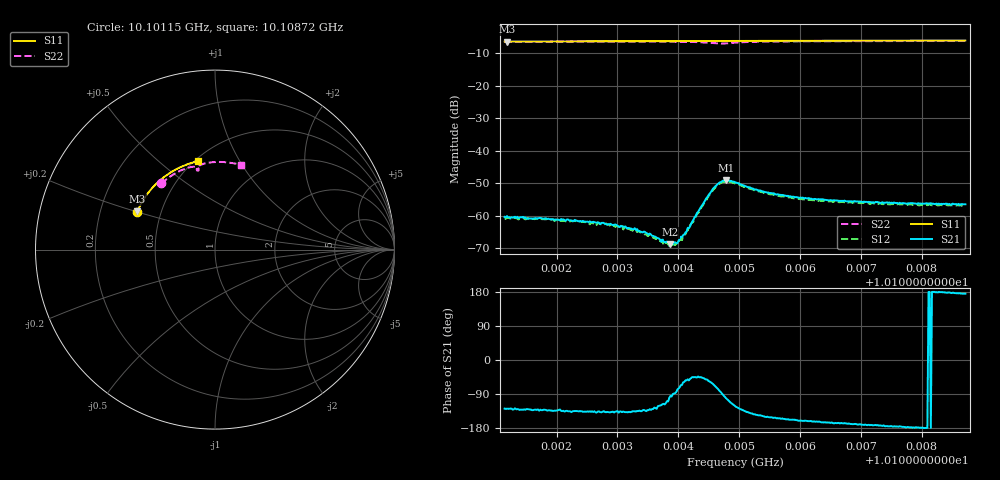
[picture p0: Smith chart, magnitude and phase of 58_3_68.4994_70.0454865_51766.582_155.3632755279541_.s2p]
#  HZ  S  RI  R  50.00
! Rohde & Schwarz Vector Network Analyzer
! Rohde-Schwarz,ZNB20-2Port,1311601062101988,3.16
! Created: UTC 3/20/2024, 5:06:17 PM
! freq[Hz]  re:S11  im:S11  re:S21  im:S21  re:S12  im:S12  re:S22  im:S22
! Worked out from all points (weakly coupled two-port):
!   401 points, 10.10115 GHz to 10.10872 GHz, reference 50 ohm
!   highest |S21| = -49.01 dB at 10.10478 GHz (marker M1); lowest = -68.7 dB at 10.10387 GHz (marker M2)
!   lowest |S11| = -6.3 dB at 10.10118 GHz (marker M3), VSWR 2.86, Z = 18.3 + j10.2 ohm
!   |S11| at or under -10 dB: nowhere
!   |S22| runs from -7.0 to -6.1 dB; largest |S21 - S12| = 0.00037
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1.0101145e10  -0.4334 0.2114  -0.000599 -0.00076  -0.000513 -0.000765  -0.2991 0.3684
1.0101183e10  -0.4323 0.2134  -0.000622 -0.000779  -0.000496 -0.0008  -0.2972 0.3702
1.0101846e10  -0.415 0.2499  -0.000616 -0.000651  -0.00056 -0.000704  -0.2639 0.3972
1.0102414e10  -0.3977 0.2797  -0.000582 -0.000578  -0.000537 -0.000603  -0.2329 0.4177
1.0102811e10  -0.3842 0.2999  -0.000557 -0.000505  -0.000508 -0.000576  -0.2101 0.4307
1.0103095e10  -0.3742 0.3138  -0.000494 -0.000477  -0.000404 -0.00047  -0.1932 0.4393
1.0103379e10  -0.3635 0.3274  -0.000405 -0.000405  -0.000359 -0.000425  -0.1756 0.4472
1.0103493e10  -0.359 0.3326  -0.000357 -0.000395  -0.000298 -0.000394  -0.1684 0.45
1.0103682e10  -0.3516 0.3414  -0.000232 -0.000385  -0.000199 -0.000385  -0.1558 0.4544
1.0103871e10  -0.3437 0.35  -3e-05 -0.000367  -5.97e-05 -0.000363  -0.1424 0.4582
1.0103985e10  -0.339 0.3548  8.14e-05 -0.00037  0.000116 -0.000375  -0.1339 0.4602
1.010408e10  -0.3351 0.359  0.000262 -0.000434  0.000271 -0.000397  -0.1267 0.4613
1.0104155e10  -0.3318 0.3622  0.000416 -0.000513  0.000429 -0.000425  -0.1204 0.4617
1.0104345e10  -0.3236 0.3702  0.000863 -0.000887  0.000886 -0.000753  -0.1043 0.4598
1.0104553e10  -0.3144 0.3788  0.0012 -0.00218  0.00134 -0.00196  -0.0905 0.448
1.0104667e10  -0.3092 0.3833  0.000586 -0.00315  0.000836 -0.00298  -0.0925 0.4401
1.010478e10  -0.3042 0.3877  -0.000629 -0.00349  -0.000296 -0.00336  -0.0994 0.4406
1.0104932e10  -0.2971 0.3935  -0.00172 -0.00282  -0.00141 -0.00283  -0.1013 0.4521
1.0105481e10  -0.2709 0.414  -0.002 -0.00112  -0.00179 -0.00126  -0.0662 0.4773
1.01062e10  -0.2343 0.4377  -0.00172 -0.000549  -0.00161 -0.000681  -0.0167 0.4867
1.0107469e10  -0.1653 0.4709  -0.00161 -0.000139  -0.00148 -0.000296  0.0663 0.4864
1.0108718e10  -0.0929 0.4928  -0.00151 0.000132  -0.00143 -3.05e-05  0.1449 0.4718
